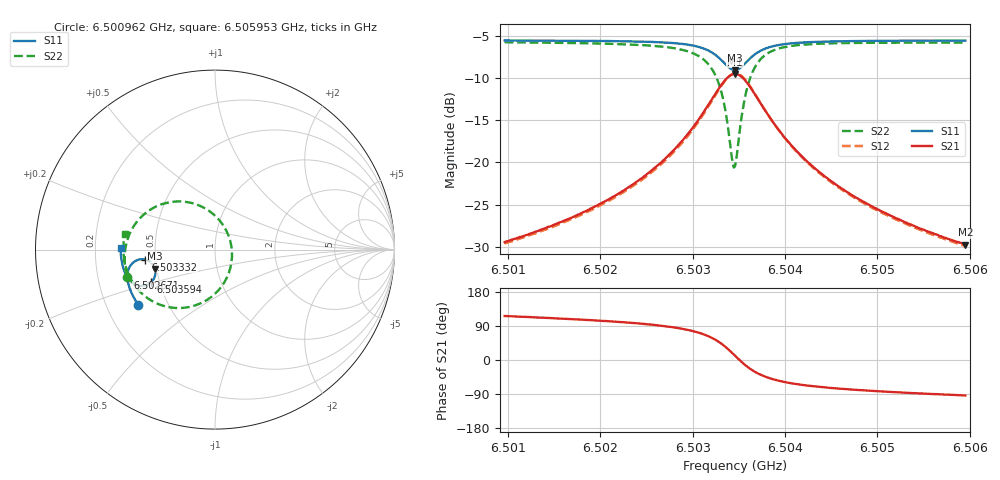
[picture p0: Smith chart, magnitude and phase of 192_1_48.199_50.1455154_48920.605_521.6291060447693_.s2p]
#  HZ  S  RI  R  50.00
! Rohde & Schwarz Vector Network Analyzer
! Rohde-Schwarz,ZNB20-2Port,1311601062101988,3.16
! Created: UTC 3/20/2024, 11:44:40 AM
! freq[Hz]  re:S11  im:S11  re:S21  im:S21  re:S12  im:S12  re:S22  im:S22
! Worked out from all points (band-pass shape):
!   401 points, 6.500962 GHz to 6.505953 GHz, reference 50 ohm
!   highest |S21| = -9.53 dB at 6.503457 GHz (marker M1); lowest = -29.7 dB at 6.505953 GHz (marker M2)
!   |S21| within 3 dB of the highest: 6.503207 GHz to 6.503707 GHz (499.4 kHz wide, 0.00768 % of centre)
!   lowest |S11| = -9.1 dB at 6.503457 GHz (marker M3), VSWR 2.08, Z = 24.4 - j5.9 ohm
!   |S11| at or under -10 dB: nowhere
!   |S22| runs from -20.6 to -5.8 dB; largest |S21 - S12| = 0.012
!   S11 on the Smith chart (normalised r, x): 6.500962 GHz: 0.34, -0.29; 6.502671 GHz: 0.33, -0.14; 6.503332 GHz: 0.44, -0.06; 6.503594 GHz: 0.45, -0.19; 6.505953 GHz: 0.31, +0.01
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6.5009617e9  -0.4268 -0.3083  -0.0148 0.0303  -0.0131 0.0304  -0.4903 -0.1529
6.5017977e9  -0.4626 -0.2464  -0.0142 0.0482  -0.0119 0.0478  -0.5031 -0.0638
6.5022469e9  -0.4783 -0.2065  -0.0113 0.0671  -0.00833 0.066  -0.5002 0.000157
6.5026337e9  -0.4875 -0.1637  -0.00198 0.0975  0.0016 0.0951  -0.4799 0.0778
6.5026711e9  -0.4879 -0.1588  -0.000316 0.1017  0.0035 0.0991  -0.4759 0.0872
6.5029456e9  -0.4837 -0.1159  0.027 0.1446  0.0307 0.1401  -0.4196 0.1734
6.5031328e9  -0.4619 -0.0776  0.0819 0.187  0.0842 0.1807  -0.3144 0.2463
6.5032451e9  -0.4288 -0.0571  0.1519 0.2045  0.1526 0.1981  -0.1881 0.2681
6.5033324e9  -0.3878 -0.0558  0.2324 0.1876  0.2326 0.1827  -0.0491 0.2262
6.5034198e9  -0.3456 -0.0841  0.3097 0.1141  0.3119 0.1094  0.0741 0.0813
6.5034447e9  -0.3377 -0.0982  0.323 0.0828  0.3259 0.0775  0.0906 0.0223
6.5034572e9  -0.3349 -0.1057  0.3273 0.0661  0.3305 0.0602  0.0944 -0.00867
6.5034822e9  -0.3321 -0.1216  0.3306 0.032  0.3342 0.0249  0.0919 -0.071
6.5035196e9  -0.3341 -0.1453  0.3234 -0.0175  0.3265 -0.0265  0.0648 -0.1586
6.5035945e9  -0.356 -0.1816  0.2777 -0.0928  0.2772 -0.1041  -0.0434 -0.2796
6.5037068e9  -0.4009 -0.2012  0.1921 -0.1376  0.1867 -0.1471  -0.2166 -0.3253
6.503869e9  -0.4476 -0.1915  0.1095 -0.134  0.1022 -0.1391  -0.3653 -0.2774
6.5040437e9  -0.4751 -0.1702  0.0644 -0.1137  0.0582 -0.1158  -0.4381 -0.2117
6.5042932e9  -0.496 -0.1403  0.0342 -0.0889  0.0294 -0.0894  -0.4817 -0.1389
6.5047174e9  -0.5131 -0.0963  0.0135 -0.0629  0.0103 -0.0626  -0.5056 -0.0555
6.5051292e9  -0.5209 -0.0582  0.0051 -0.0485  0.00275 -0.0479  -0.5104 0.00192
6.5059527e9  -0.5259 0.0115  -0.00208 -0.0325  -0.0034 -0.0318  -0.5027 0.0897
